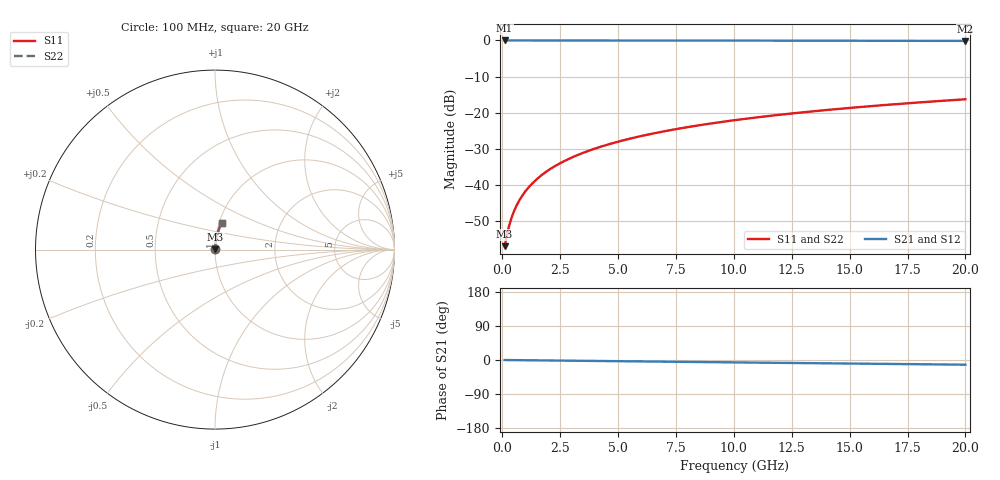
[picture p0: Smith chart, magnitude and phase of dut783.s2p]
! Touchstone file exported from HFSS 2026.1.0
!  File:  C:/ffzhzh/LocalFiles/Ansys_Project_Files/temp_train_BSMRDL_783_1783169398_55132.aedt
!  Generated:  08:51:14 PM Jul  4, 2026
!  Design:  BSMRDL
!  Project:  temp_train_BSMRDL_783_1783169398_55132
! Variables:
!  h_bsmrdl = 3.1um
!  h_ox = 20um
!  h_rdl = 5um
!  h_sub = 80um
!  h_tmrdl = 5um
!  h_tsv = 80um
!  h_via = 3um
!  l_bsmrdl = 120.74um
!  l_sub = 520.74um
!  l_tmrdl = 200um
!  m_sub = 200um
!  pitch = 46.76um
!  r_tsv = 6um
!  s_tmrdl = 10um
!  w_bsmrdl = 14.82um
!  w_sub = 500um
!  w_tmrdl = 12um
!  x_tsv_center1 = 206um
!  x_tsv_center2 = 341.56um
!  x_tsv_center3 = 553.56um
!  x_tsv_center4 = 689.12um
!  x_tsv_center5 = 901.12um
!  x_tsv_center6 = 1036.68um
# GHz S MA R 50.000000
! Terminal data exported
! Port[1] = BSM_RDL1_1_T1
! Port[2] = BSM_RDL1_1_T2
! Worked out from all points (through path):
!   200 points, 100 MHz to 20 GHz, reference 50 ohm
!   highest |S21| = -0.01 dB at 100 MHz (marker M1); lowest = -0.1 dB at 20 GHz (marker M2)
!   group delay of S21, straight-line fit = 1.72 ps
!   lowest |S11| = -57.0 dB at 100 MHz (marker M3), VSWR 1.00, Z = 50.1 + j0.0835 ohm
!   |S11| at or under -10 dB: start of sweep to end of sweep
!   |S22| runs from -57.0 to -16.3 dB; largest |S21 - S12| = 4.3e-15
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0.1  0.00142 36.0  0.9989 -0.1  0.9989 -0.1  0.00142 36.0
! Gamma 0 0 0 0
! Port Impedance 50 0 50 0
0.2  0.002032 54.8  0.9988 -0.1  0.9988 -0.1  0.002032 54.8
0.3  0.002754 64.2  0.9988 -0.2  0.9988 -0.2  0.002754 64.2
0.4  0.003511 69.4  0.9988 -0.3  0.9988 -0.3  0.003511 69.4
0.5  0.00428 72.8  0.9987 -0.3  0.9987 -0.3  0.00428 72.8
0.6  0.005054 75.1  0.9987 -0.4  0.9987 -0.4  0.005054 75.1
0.8  0.006609 78.1  0.9987 -0.5  0.9987 -0.5  0.006609 78.1
1.1  0.008951 80.7  0.9986 -0.7  0.9986 -0.7  0.008951 80.7
1.5  0.01209 82.5  0.9985 -1.0  0.9985 -1.0  0.01209 82.5
1.8  0.01445 83.3  0.9985 -1.1  0.9985 -1.1  0.01445 83.3
2.1  0.01682 83.8  0.9984 -1.3  0.9984 -1.3  0.01682 83.8
2.7  0.02156 84.3  0.9983 -1.7  0.9983 -1.7  0.02156 84.3
3.5  0.02787 84.6  0.998 -2.2  0.998 -2.2  0.02787 84.6
4.2  0.03338 84.5  0.9978 -2.7  0.9978 -2.7  0.03338 84.5
5  0.03967 84.3  0.9975 -3.2  0.9975 -3.2  0.03967 84.3
5.9  0.04672 84.0  0.997 -3.7  0.997 -3.7  0.04672 84.0
6.8  0.05374 83.6  0.9966 -4.3  0.9966 -4.3  0.05374 83.6
8.3  0.06537 82.8  0.9956 -5.2  0.9956 -5.2  0.06537 82.8
10.1  0.07922 81.8  0.9943 -6.3  0.9943 -6.3  0.07922 81.8
13.4  0.1043 80.0  0.9915 -8.4  0.9915 -8.4  0.1043 80.0
16.7  0.129 78.1  0.9882 -10.4  0.9882 -10.4  0.129 78.1
20  0.1532 76.2  0.9844 -12.4  0.9844 -12.4  0.1532 76.2
